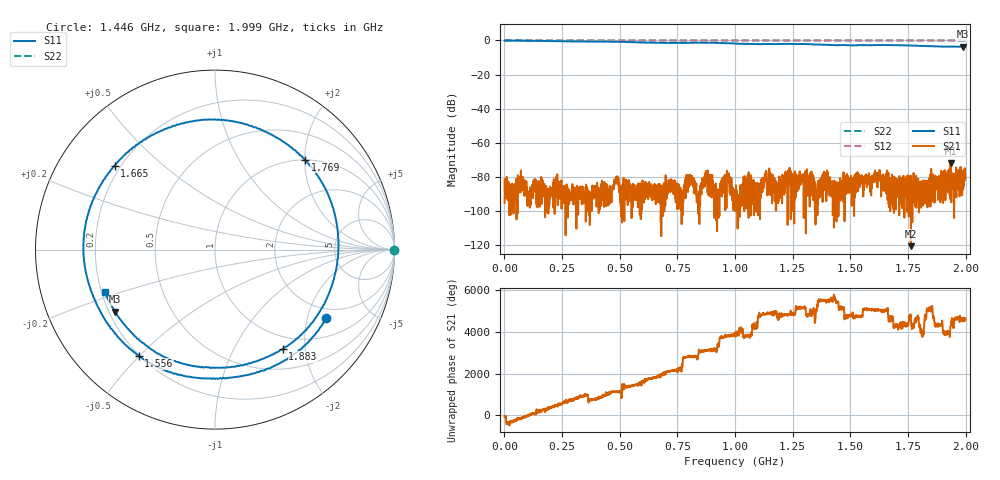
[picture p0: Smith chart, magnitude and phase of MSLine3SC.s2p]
! Anritsu VNA Master:  Model: MS2025B
! SN:  1642059
! /bd0/PROE/TP1/MSLine3SC.s2p
! Existing Calibration Information:
! TYPE:  Current Settings,  Active Cal Settings
! TIME:  04/16/2024 08:52:18 AM,  03/12/2018 11:45:53 AM
! INTERNAL TEMP:  42.5 C,  40.8 C
! # POINTS:  2857,  4001
! START FREQ:  1.000 MHz,  1.000 MHz
! STOP FREQ:  1.999 486 GHz,  2.800 GHz
! SOURCE POWER:  Default,  Default
! IFBW:  1 kHz,  1 kHz
! AVG FACTOR:  1 ,  1
! REF PLANE 1:  0 mm,  0 mm
! REF PLANE 2:  0 mm,  0 mm
! CAL TYPE:  1P2P S11,S21,  1P2P S11,S21
! CAL METHOD:  SOLT,  SOLT
! CAL LINE TYPE:  Coax,  Coax
! DUT PORT 1:  ,
! DUT PORT 2:  N-Conn(M),  N-Conn(M)
! CAL STATUS:  OK: Accuracy High,  --
# GHZ S MA R 50.0
! FREQ.GHZ  S11M  S11A  S21M  S21A  S12M  S12A  S22M  S22A
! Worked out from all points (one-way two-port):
!   2857 points, 1 MHz to 1.999 GHz, reference 50 ohm
!   highest |S21| = -72.23 dB at 1.935 GHz (marker M1); lowest = -120.8 dB at 1.763 GHz (marker M2)
!   lowest |S11| = -3.7 dB at 1.988 GHz (marker M3), VSWR 4.79, Z = 11.2 - j13.6 ohm
!   |S11| at or under -10 dB: nowhere
!   |S22| runs from 0.0 to 0.0 dB; largest |S21 - S12| = 1
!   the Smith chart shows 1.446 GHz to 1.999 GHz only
!   S11 on the Smith chart (normalised r, x): 1.446 GHz: 1.61, -2.63; 1.556 GHz: 0.20, -0.50; 1.665 GHz: 0.18, +0.35; 1.769 GHz: 0.99, +2.00; 1.883 GHz: 0.79, -1.60; 1.999 GHz: 0.21, -0.18
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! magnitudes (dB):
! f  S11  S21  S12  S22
! 1 MHz  0.0  -95.4  0.0  0.0
! 334.1 MHz  -0.6  -93.2  0.0  0.0
! 667.2 MHz  -1.4  -95.1  0.0  0.0
! 858.2 MHz  -1.3  -80.9  0.0  0.0
! 876.4 MHz  -1.4  -78.4  0.0  0.0
! 1 GHz  -1.8  -89.1  0.0  0.0
! 1.119 GHz  -2.1  -89.1  0.0  0.0
! 1.142 GHz  -2.1  -88.8  0.0  0.0
! 1.192 GHz  -2.1  -88.8  0.0  0.0
! 1.234 GHz  -2.0  -80.1  0.0  0.0
! 1.26 GHz  -2.1  -90.3  0.0  0.0
! 1.333 GHz  -2.3  -83.2  0.0  0.0
! 1.446 GHz  -2.8  -92.2  0.0  0.0
! 1.556 GHz  -2.8  -80.0  0.0  0.0
! 1.665 GHz  -2.7  -90.4  0.0  0.0
! 1.666 GHz  -2.7  -95.8  0.0  0.0
! 1.763 GHz  -3.0  -120.8  0.0  0.0
! 1.769 GHz  -3.0  -86.4  0.0  0.0
! 1.883 GHz  -3.5  -88.3  0.0  0.0
! 1.935 GHz  -3.6  -72.2  0.0  0.0
! 1.988 GHz  -3.7  -85.6  0.0  0.0
! 1.999 GHz  -3.6  -80.2  0.0  0.0
